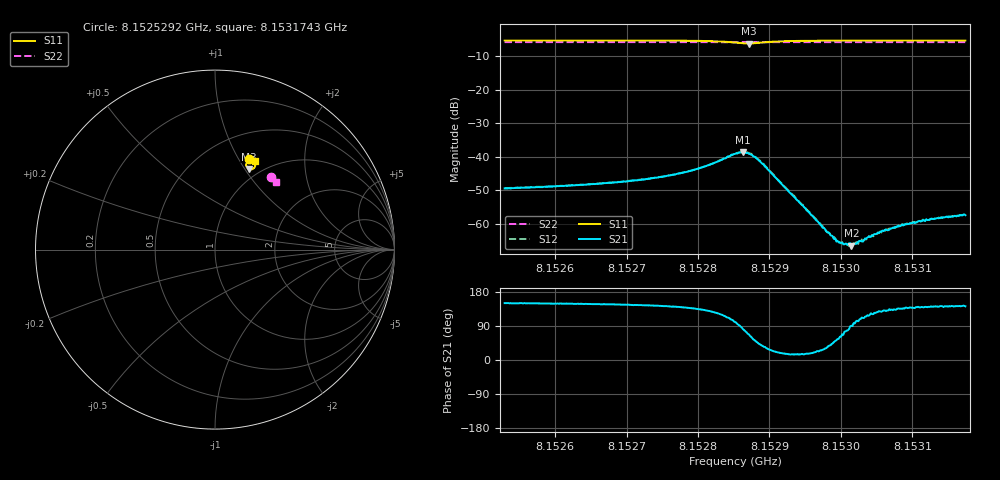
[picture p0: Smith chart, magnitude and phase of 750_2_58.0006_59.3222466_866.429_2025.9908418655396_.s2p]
#  HZ  S  RI  R  50.00
! Rohde & Schwarz Vector Network Analyzer
! Rohde-Schwarz,ZNB20-2Port,1311601062101988,3.16
! Created: UTC 3/21/2024, 1:23:57 AM
! freq[Hz]  re:S11  im:S11  re:S21  im:S21  re:S12  im:S12  re:S22  im:S22
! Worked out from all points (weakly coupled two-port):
!   401 points, 8.1525292 GHz to 8.1531743 GHz, reference 50 ohm
!   highest |S21| = -38.67 dB at 8.152863 GHz (marker M1); lowest = -66.5 dB at 8.1530146 GHz (marker M2)
!   lowest |S11| = -6.3 dB at 8.1528711 GHz (marker M3), VSWR 2.89, Z = 44.2 + j52.1 ohm
!   |S11| at or under -10 dB: nowhere
!   |S22| runs from -5.9 to -5.8 dB; largest |S21 - S12| = 0.00043
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8.15252916e9  0.1911 0.5056  -0.00291 0.00168  -0.00292 0.00174  0.3116 0.4049
8.15263723e9  0.2001 0.5018  -0.00325 0.00201  -0.00323 0.00207  0.3168 0.4005
8.15269368e9  0.2056 0.4992  -0.00352 0.00236  -0.0035 0.00243  0.3198 0.3982
8.15274529e9  0.2116 0.4955  -0.00395 0.00296  -0.00393 0.00305  0.3225 0.3958
8.15277755e9  0.2163 0.4913  -0.00432 0.00375  -0.00431 0.00382  0.3239 0.3943
8.15280174e9  0.2205 0.4858  -0.00467 0.00482  -0.00466 0.00488  0.3251 0.393
8.15285174e9  0.2165 0.4533  -0.002 0.0108  -0.00199 0.0108  0.3268 0.3901
8.15286303e9  0.2008 0.4461  0.00176 0.0115  0.00163 0.0116  0.3265 0.3896
8.15287109e9  0.1869 0.4492  0.0042 0.0102  0.00443 0.0105  0.3265 0.3896
8.15287916e9  0.177 0.4589  0.00611 0.00789  0.00612 0.00801  0.3267 0.3898
8.15288884e9  0.1735 0.4721  0.00632 0.00504  0.00648 0.00515  0.3271 0.3899
8.1529598e9  0.1981 0.4975  0.00125 0.000416  0.00127 0.00041  0.3317 0.3876
8.15297916e9  0.202 0.4977  0.000671 0.000406  0.000684 0.00038  0.3327 0.3868
8.15299367e9  0.2046 0.4975  0.000334 0.000427  0.000362 0.000437  0.3336 0.3861
8.15300335e9  0.206 0.4972  0.0002 0.000459  0.000186 0.000454  0.3341 0.3859
8.15301464e9  0.2076 0.497  -2.59e-06 0.000474  -2.1e-05 0.000486  0.3347 0.3853
8.15302109e9  0.2085 0.4969  -0.000104 0.000488  -0.000115 0.000515  0.3348 0.3849
8.15305496e9  0.2126 0.4961  -0.000471 0.000599  -0.000442 0.000625  0.3365 0.3835
8.15306787e9  0.2139 0.4957  -0.000567 0.00059  -0.000576 0.000623  0.3373 0.3829
8.15310012e9  0.217 0.4949  -0.000762 0.000683  -0.000781 0.000716  0.3386 0.3815
8.1531227e9  0.2191 0.494  -0.000877 0.000727  -0.000877 0.000737  0.3397 0.3805
8.15317432e9  0.2233 0.4925  -0.00105 0.000831  -0.00108 0.000862  0.3422 0.3782
